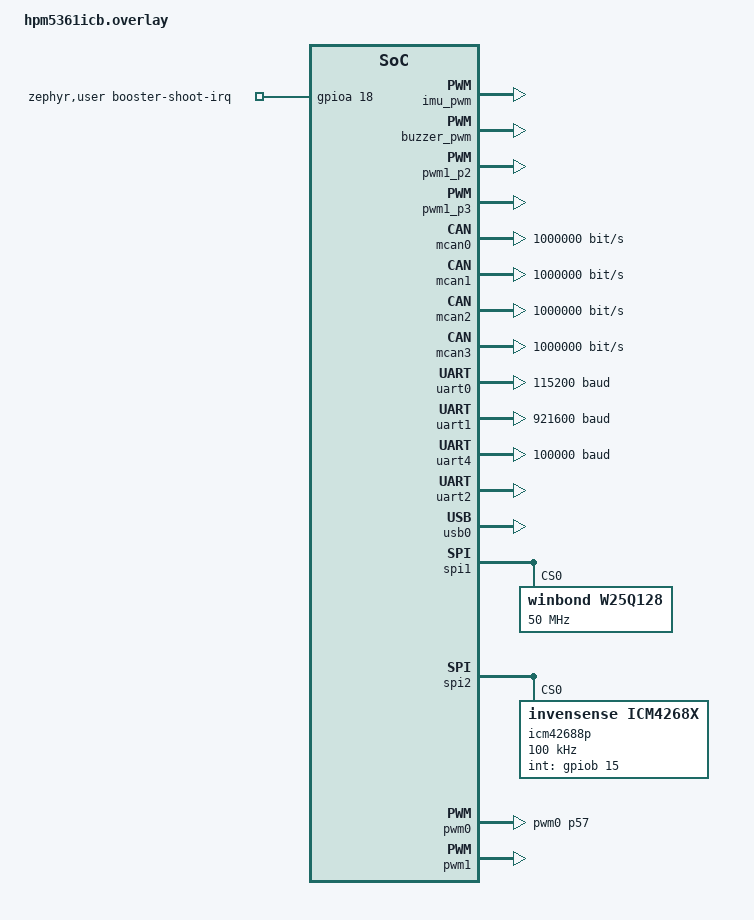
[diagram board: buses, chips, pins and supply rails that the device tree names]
#include <dt-bindings/gpio/gpio.h>
#include <dt-bindings/clock/hpm5361-clocks.h>
#include "dt-bindings/pinctrl/hpmicro-pinctrl-common.h"
#include <zephyr/dt-bindings/pwm/pwm.h>

/ {
    aliases {
        booster-can = &mcan1;
        inter-can   = &mcan3;      /* 上下板通信总线（总线所有者组件用；与 user-can2 同一节点） */
        remote-uart = &uart1;
        hipnuc-uart = &uart0;   /* HiPNUC IMU：PA00/PA01（uart0），115200 8N1 */
        imu-spi     = &icm42688p;
        imu-pwm     = &imu_pwm;
        buzzer-pwm  = &buzzer_pwm;
        flash-spi   = &w25q128;
        pc-usb      = &qingyuusb_usb0;
    };

    chosen {
        zephyr,console = &uart2;
    };

    /* 弹丸检测输入（对射光电 / 微动开关）：PA18，每次上升沿 = 一发弹丸通过。
     * 放在 /zephyr,user 这个标准容器里：Zephyr 只给"有 compatible 的节点"和
     * /zephyr,user 生成属性宏，自造的无 compatible 节点（如 booster_shoot_irq）
     * 属性会被 devicetree 脚本丢掉，DT_PROP 取不到值。
     * booster 线程用 DT_PATH(zephyr_user) 取这个 gpio，注册上升沿中断
     * （见 thread/booster/trd_booster.cpp 的 ShootIrqIsr）。 */
    zephyr,user {
        booster-shoot-irq-gpios = <&gpioa 18 GPIO_ACTIVE_HIGH>;
    };

    pwm {
        compatible = "pwm-leds";

        imu_pwm: imu_pwm {
            pwms = <&pwm0 7 PWM_USEC(1000) PWM_POLARITY_NORMAL>;
            label = "ICM42688P Heater";
            status = "okay";
        };

        buzzer_pwm: buzzer_pwm {
            pwms = <&pwm0 5 PWM_USEC(1000) PWM_POLARITY_NORMAL>;
            label = "Buzzer";
            status = "okay";
        };

        pwm1_p2: pwm1_p2 {
            pwms = <&pwm1 2 PWM_USEC(1000) PWM_POLARITY_NORMAL>;
            label = "PWM1 CH2";
            status = "okay";
        };

        pwm1_p3: pwm1_p3 {
            pwms = <&pwm1 3 PWM_USEC(1000) PWM_POLARITY_NORMAL>;
            label = "PWM1 CH3";
            status = "okay";
        };
    };
};

&hdma {
    status = "okay";
};

&gpioa {
    pinctrl-0 = <&pinmux_gpioa>, <&pinmux_booster_shoot_irq>;
    pinctrl-names = "default";
    status = "okay";
};

&pinctrl {
    /* PA18 弹丸检测输入：IOC ALT0 = GPIO，内置下拉，
     * 传感器没插 / 线断了读 0，不会悬空误触发上升沿计数。
     * ⚠️ PA18 原本给 PWM1 CH2（见文件末尾 &pwm1），这里把它让给弹丸检测，
     *    &pwm1 的 pinctrl 只剩 PA19（CH3）。 */
    pinmux_booster_shoot_irq: pinmux_booster_shoot_irq {
        group0 {
            pinmux = <HPMICRO_PINMUX(HPMICRO_PIN(HPMICRO_PORTA, 18), IOC_TYPE_IOC, 0, 0)>;
            bias-pull-down;
        };
    };
};

&gpiob {
    pinctrl-0 = <&pinmux_gpiob_spi>;
    pinctrl-names = "default";
    status = "okay";
};

&gpioy {
    pinctrl-0 = <&pinmux_gpioy>;
    pinctrl-names = "default";
    status = "okay";
};

&mcan0 {
    pinctrl-0 = <&pinmux_mcan0_txrx>;
    pinctrl-names = "default";
    /* 位时序要精确：CAN 时钟必须能被 1Mbps 整除。
     * 原来 PLL1_CLK0(792MHz)/5 = 158.4MHz，SDK 只能取 158 tq 近似
     *   → prescaler=1, tq=158, seg1=119, seg2=39 → 实际 1.0025 Mbps（+0.25%）
     * 改成 OSC24M/1 = 24MHz：
     *   → prescaler=1, tq=24, seg1=18, seg2=6 → 精确 1.000 Mbps，采样点 75% */
    // clk-source = <CLK_SRC_OSC24M>;
    // clk-divider = <1>;
    bitrate = <1000000>;
    status = "okay";
};

/* ---- MCAN1 / MCAN2 / MCAN3 -------------------------------------------
 * SoC 节点（reg/irq/clk）与 pinctrl 已下沉到板级公共定义：
 *   Zephyr_HPMicro/sdk_glue_user/boards/hpmicro/hpm5361icb/
 *     hpm5361icb.dts          -> mcan1/2/3 + uart2 的 soc 节点、&mcanX/&uart2 引脚与 status=disabled
 *     hpm5361icb-pinctrl.dtsi -> pinmux_mcan1/2/3_txrx、pinmux_uart2
 * 工程侧只负责"启用 + 速率"：
 *   mcan1 = user-can2 = inter-can（上下板通信）
 *   mcan2 = user-can3，mcan3 = user-can4
 */
&mcan1 {
    bitrate = <1000000>;
    status = "okay";
};

&mcan2 {
    bitrate = <1000000>;
    status = "okay";
};

&mcan3 {
    /* 上下板通信总线 owner（thread/inter_bus 用的 inter-can）。
     * 位率必须与下板逐项一致（下板在 board_dm_mc02 的 &fdcan2 里）：
     *   仲裁段 1Mbps @ 采样点 80%，数据段 2Mbps @ 采样点 75%。
     * ⚠️ bitrate-data / sample-point(-data) 只在 CONFIG_CAN_FD_MODE=y 时才会被
     *    HPM 驱动用上（见 hpm5361icb.conf 里那段说明），否则 DBTP 根本不被编程。 */
    bitrate = <1000000>;
    sample-point = <800>;
    bitrate-data = <1000000>;
    sample-point-data = <750>;
    status = "okay";
};

&uart0 {
    /* PA00 = UART0_TXD / PA01 = UART0_RXD（板级 pinmux_uart0，IOC ALT2）
     * 速率/引脚/DMA 都在板级 hpm5361icb.dts 里：115200 8N1，DMA 0/1（0x14/0x15）
     * （uart3 已停用，它原来的 4/5 通道给了 console uart2，所以 0/1 现在只归 uart0） */
    current-speed = <115200>;
    status = "okay";
};

&uart1 {
    current-speed = <921600>;
    pinctrl-0 = <&pinmux_uart1>;
    pinctrl-names = "default";
    dmas = <&hdma 6 0x16>, <&hdma 7 0x17>;
    dma-names = "rx", "tx";
    status = "okay";
};

&uart4 {
    current-speed = <100000>;
    pinctrl-0 = <&pinmux_uart4_rx>;
    pinctrl-names = "default";
    uart-idle-gptmr-reg = <0xF000C000>;
    uart-idle-gptmr-clock-name = <CLOCK_GPTMR3>;
    dmas = <&hdma 2 0x1C>, <&hdma 3 0x1D>;
    dma-names = "rx", "tx";
    status = "okay";
};

/* ---- UART2（console，板载 "UART2"/H4 连接器）--------------------------
 * 连接器侧：H4.1 = +5V，H4.2 = GND（TVS 到 GND，F11/F12 串在数据线上）
 *           H4.3 = 板侧 RXD，H4.4 = 板侧 TXD
 * MCU 侧 ：PB09 = UART2_RXD，PB08 = UART2_TXD（IOC ALT2）
 *
 * soc 节点（0xF0048000 / IRQ15+IRQ5）、pinctrl、DMA、921600 都已在板级
 * hpm5361icb.dts 中定义；工程侧只额外挂 idle-gptmr 做接收空闲中断。
 */
&uart2 {
    /* 用 GPTMR3 做接收空闲定时器（idle line 中断） */
    uart-idle-gptmr-reg = <0xF000C000>;
    uart-idle-gptmr-clock-name = <CLOCK_GPTMR3>;
    status = "okay";
};

qingyuusb_usb0: &usb0 {
    compatible = "hpmicro,hpm-qingyuusb";
    clk-name = <CLOCK_USB0>;
    status = "okay";
};

&spi1 {
    pinctrl-0 = <&pinmux_spi1>;
    pinctrl-names = "default";
    clocks = <&clk CLOCK_SPI1 CLK_SRC_OSC24M 1>;
    status = "okay";

    w25q128: w25q128@0 {
        compatible = "winbond,w25q128";
        reg = <0>;
        spi-max-frequency = <50000000>;
        status = "okay";
    };
};

&spi2 {
    pinctrl-0 = <&pinmux_spi2_local>;
    pinctrl-names = "default";
    clocks = <&clk CLOCK_SPI2 CLK_SRC_OSC24M 1>;
    status = "okay";

    icm42688p: icm42688p@0 {
        compatible = "invensense,icm4268x";
        reg = <0>;
        spi-max-frequency = <100000>;
        int-gpios = <&gpiob 15 GPIO_ACTIVE_HIGH>;
        status = "okay";
    };
};

&pwm0 {
    pinctrl-0 = <&pinmux_pwm0_p57>;
    pinctrl-names = "default";
    period-init = <1000>;
    dead-zone-in-half-cycle = <0>;
    status = "okay";
};

&mtimer {
    compatible = "riscv,machine-timer", "andestech,machine-timer";
    reg-names = "mtime", "mtimecmp";
};

&pwm1 {
    /* PA18 改作弹丸检测输入（/zephyr,user 的 booster-shoot-irq-gpios），
     * 这里只剩 PA19 = PWM1 CH3。要用 CH2 的话得把检测脚挪回别的 pin。 */
    pinctrl-0 = <&pinmux_pwm1_p3>;
    pinctrl-names = "default";
    period-init = <1000>;
    dead-zone-in-half-cycle = <0>;
    status = "okay";
};
